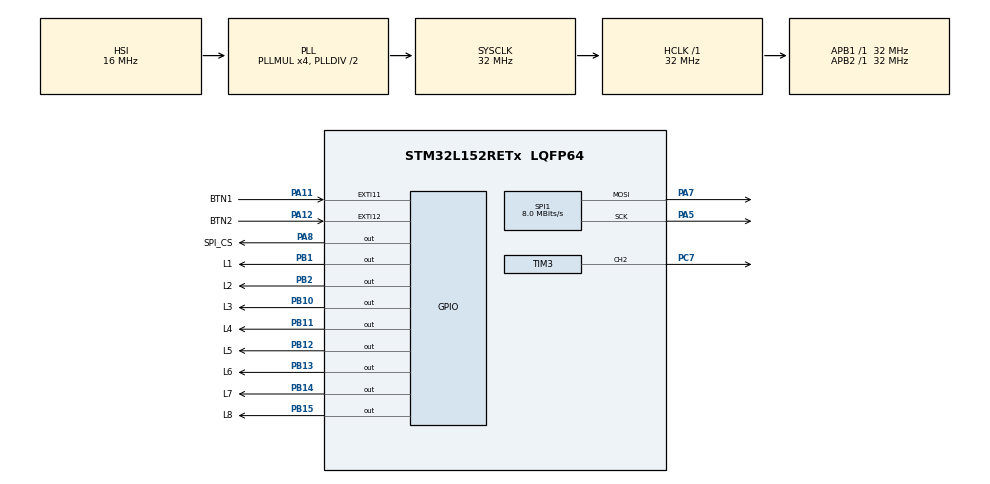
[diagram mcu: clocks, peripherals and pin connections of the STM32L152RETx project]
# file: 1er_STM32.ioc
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Mcu.Family=STM32L1
Mcu.Name=STM32L152RETx
Mcu.Package=LQFP64
NVIC.EXTI15_10_IRQn=true\:0\:0\:false\:false\:true\:true\:true\:true
NVIC.PriorityGroup=NVIC_PRIORITYGROUP_4
NVIC.TIM2_IRQn=true\:15\:0\:false\:false\:true\:true\:true\:true
NVIC.TIM4_IRQn=true\:0\:0\:false\:false\:true\:true\:true\:true
NVIC.TimeBase=TIM2_IRQn
NVIC.TimeBaseIP=TIM2
PA11.GPIO_Label=BTN1
PA11.GPIO_ModeDefaultEXTI=GPIO_MODE_IT_FALLING
PA11.Signal=GPXTI11
PA12.GPIO_Label=BTN2
PA12.GPIO_ModeDefaultEXTI=GPIO_MODE_IT_FALLING
PA12.Signal=GPXTI12
PA13.Mode=Trace_Asynchronous_SW
PA13.Signal=SYS_JTMS-SWDIO
PA14.Mode=Trace_Asynchronous_SW
PA14.Signal=SYS_JTCK-SWCLK
PA5.Mode=TX_Only_Simplex_Unidirect_Master
PA5.Signal=SPI1_SCK
PA7.Mode=TX_Only_Simplex_Unidirect_Master
PA7.Signal=SPI1_MOSI
PA8.GPIO_Label=SPI_CS
PA8.PinState=GPIO_PIN_SET
PA8.Signal=GPIO_Output
PB1.GPIO_Label=L1
PB1.Signal=GPIO_Output
PB10.GPIO_Label=L3
PB10.Signal=GPIO_Output
PB11.GPIO_Label=L4
PB11.Signal=GPIO_Output
PB12.GPIO_Label=L5
PB12.Signal=GPIO_Output
PB13.GPIO_Label=L6
PB13.Signal=GPIO_Output
PB14.GPIO_Label=L7
PB14.Signal=GPIO_Output
PB15.GPIO_Label=L8
PB15.Signal=GPIO_Output
PB2.GPIO_Label=L2
PB2.Signal=GPIO_Output
PB3.Mode=Trace_Asynchronous_SW
PB3.Signal=SYS_JTDO-TRACESWO
PC13-WKUP2.Mode=SYS_WakeUp1
PC13-WKUP2.Signal=SYS_WKUP2
PC7.Signal=S_TIM3_CH2
ProjectManager.HeapSize=0x200
ProjectManager.StackSize=0x400
ProjectManager.TargetToolchain=STM32CubeIDE
RCC.48MHZClocksFreq_Value=32000000
RCC.AHBFreq_Value=32000000
RCC.APB1Freq_Value=32000000
RCC.APB1TimFreq_Value=32000000
RCC.APB2Freq_Value=32000000
RCC.APB2TimFreq_Value=32000000
RCC.HCLKFreq_Value=32000000
RCC.HSE_VALUE=24000000
RCC.HSI_VALUE=16000000
RCC.LSE_VALUE=32768
RCC.MSI_VALUE=2097000
RCC.PLLMUL=RCC_PLL_MUL4
RCC.SYSCLKFreq_VALUE=32000000
RCC.SYSCLKSource=RCC_SYSCLKSOURCE_PLLCLK
RCC.VCOOutputFreq_Value=64000000
SH.S_TIM3_CH2.0=TIM3_CH2,PWM Generation2 CH2
SPI1.BaudRatePrescaler=SPI_BAUDRATEPRESCALER_4
SPI1.CLKPolarity=SPI_POLARITY_HIGH
SPI1.CalculateBaudRate=8.0 MBits/s
SPI1.Direction=SPI_DIRECTION_2LINES
SPI1.Mode=SPI_MODE_MASTER
SPI1.VirtualType=VM_MASTER
TIM3.Channel-PWM\ Generation2\ CH2=TIM_CHANNEL_2
TIM3.Pulse-PWM\ Generation2\ CH2=0
TIM4.Period=99
TIM4.Prescaler=31999
VP_SYS_VS_tim2.Mode=TIM2
VP_TIM4_VS_ClockSourceINT.Mode=Internal
VP_TIM4_VS_ClockSourceITR.Mode=TriggerSource_ITR0
board=custom

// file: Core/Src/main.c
/* USER CODE BEGIN Header */
/**
  ******************************************************************************
  * @file           : main.c
  * @brief          : Main program body
  ******************************************************************************
  * @attention
  *
  * Copyright (c) 2022 STMicroelectronics.
  * All rights reserved.
  *
  * This software is licensed under terms that can be found in the LICENSE file
  * in the root directory of this software component.
  * If no LICENSE file comes with this software, it is provided AS-IS.
  *
  ******************************************************************************
  */
/* USER CODE END Header */
#include "main.h"

/* USER CODE BEGIN Includes */
#include <stdio.h>
#include <stdlib.h>
/* USER CODE END Includes */

SPI_HandleTypeDef hspi1;

TIM_HandleTypeDef htim3;
TIM_HandleTypeDef htim4;

void SystemClock_Config(void);
static void MX_GPIO_Init(void);
static void MX_TIM3_Init(void);
static void MX_SPI1_Init(void);
static void MX_TIM4_Init(void);
/* USER CODE BEGIN PFP */
int _write(int file, char *ptr, int len);
/* USER CODE END PFP */

/* USER CODE BEGIN 0 */

int _write(int file, char *ptr, int len)
{
int DataIdx;
for (DataIdx = 0; DataIdx < len; DataIdx++)
{
//__io_putchar(*ptr++);
ITM_SendChar(*ptr++);
}
return len;
}

/* USER CODE END 0 */

int main(void)
{
  /* USER CODE BEGIN 1 */
	TypeDef_LED_Array array_1 = {
		(TypeDef_LED [8]){
			{L1_GPIO_Port, L1_Pin},
			{L2_GPIO_Port, L2_Pin},
			{L3_GPIO_Port, L3_Pin},
			{L4_GPIO_Port, L4_Pin},
			{L5_GPIO_Port, L5_Pin},
			{L6_GPIO_Port, L6_Pin},
			{L7_GPIO_Port, L7_Pin},
			{L8_GPIO_Port, L8_Pin}},
		8
	};

	MAX7219_Handle_TypeDef max7219_handle = {
			&hspi1,
			SPI_CS_GPIO_Port,
			SPI_CS_Pin,
			4,
	};

	TypeDef_Music_Handler music_handler;

	music_handler.htim = &htim3;

	TypeDef_Timer_Handler timer_handler;

	timer_handler.htim = &htim4;

	Pong_Handle_TypeDef pong_handler = {
			array_1,
			max7219_handle,
			music_handler,
			timer_handler
	};

	FSM_Handle_TypeDef fsm_handler;

  /* USER CODE END 1 */

  /* MCU Configuration--------------------------------------------------------*/

  /* Reset of all peripherals, Initializes the Flash interface and the Systick. */
  HAL_Init();

  /* Configure the system clock */
  SystemClock_Config();

  /* Initialize all configured peripherals */
  MX_GPIO_Init();
  MX_TIM3_Init();
  MX_SPI1_Init();
  MX_TIM4_Init();
  /* USER CODE BEGIN 2 */

  ///////////////////////////////////////////////////////	PONG

  pong_init(&pong_handler, &fsm_handler);

  ///////////////////////////////////////////////////////	MUSIC

  //init buzzer clock
  HAL_TIM_PWM_Start(&htim3, TIM_CHANNEL_2);

  /* USER CODE END 2 */

  /* Infinite loop */
  while (1)
  {

    /* USER CODE BEGIN 3 */

	pong_run();

  }
  /* USER CODE END 3 */
}

void SystemClock_Config(void)
{
  RCC_OscInitTypeDef RCC_OscInitStruct = {0};
  RCC_ClkInitTypeDef RCC_ClkInitStruct = {0};

  /** Configure the main internal regulator output voltage
  */
  __HAL_PWR_VOLTAGESCALING_CONFIG(PWR_REGULATOR_VOLTAGE_SCALE1);

  /** Initializes the RCC Oscillators according to the specified parameters
  * in the RCC_OscInitTypeDef structure.
  */
  RCC_OscInitStruct.OscillatorType = RCC_OSCILLATORTYPE_HSI;
  RCC_OscInitStruct.HSIState = RCC_HSI_ON;
  RCC_OscInitStruct.HSICalibrationValue = RCC_HSICALIBRATION_DEFAULT;
  RCC_OscInitStruct.PLL.PLLState = RCC_PLL_ON;
  RCC_OscInitStruct.PLL.PLLSource = RCC_PLLSOURCE_HSI;
  RCC_OscInitStruct.PLL.PLLMUL = RCC_PLL_MUL4;
  RCC_OscInitStruct.PLL.PLLDIV = RCC_PLL_DIV2;
  if (HAL_RCC_OscConfig(&RCC_OscInitStruct) != HAL_OK)
  {
    Error_Handler();
  }

  /** Initializes the CPU, AHB and APB buses clocks
  */
  RCC_ClkInitStruct.ClockType = RCC_CLOCKTYPE_HCLK|RCC_CLOCKTYPE_SYSCLK
                              |RCC_CLOCKTYPE_PCLK1|RCC_CLOCKTYPE_PCLK2;
  RCC_ClkInitStruct.SYSCLKSource = RCC_SYSCLKSOURCE_PLLCLK;
  RCC_ClkInitStruct.AHBCLKDivider = RCC_SYSCLK_DIV1;
  RCC_ClkInitStruct.APB1CLKDivider = RCC_HCLK_DIV1;
  RCC_ClkInitStruct.APB2CLKDivider = RCC_HCLK_DIV1;

  if (HAL_RCC_ClockConfig(&RCC_ClkInitStruct, FLASH_LATENCY_1) != HAL_OK)
  {
    Error_Handler();
  }
}

static void MX_SPI1_Init(void)
{

  /* SPI1 parameter configuration*/
  hspi1.Instance = SPI1;
  hspi1.Init.Mode = SPI_MODE_MASTER;
  hspi1.Init.Direction = SPI_DIRECTION_2LINES;
  hspi1.Init.DataSize = SPI_DATASIZE_8BIT;
  hspi1.Init.CLKPolarity = SPI_POLARITY_HIGH;
  hspi1.Init.CLKPhase = SPI_PHASE_1EDGE;
  hspi1.Init.NSS = SPI_NSS_SOFT;
  hspi1.Init.BaudRatePrescaler = SPI_BAUDRATEPRESCALER_4;
  hspi1.Init.FirstBit = SPI_FIRSTBIT_MSB;
  hspi1.Init.TIMode = SPI_TIMODE_DISABLE;
  hspi1.Init.CRCCalculation = SPI_CRCCALCULATION_DISABLE;
  hspi1.Init.CRCPolynomial = 10;
  if (HAL_SPI_Init(&hspi1) != HAL_OK)
  {
    Error_Handler();
  }

}

static void MX_TIM3_Init(void)
{

  TIM_MasterConfigTypeDef sMasterConfig = {0};
  TIM_OC_InitTypeDef sConfigOC = {0};

  htim3.Instance = TIM3;
  htim3.Init.Prescaler = 0;
  htim3.Init.CounterMode = TIM_COUNTERMODE_UP;
  htim3.Init.Period = 65535;
  htim3.Init.ClockDivision = TIM_CLOCKDIVISION_DIV1;
  htim3.Init.AutoReloadPreload = TIM_AUTORELOAD_PRELOAD_DISABLE;
  if (HAL_TIM_PWM_Init(&htim3) != HAL_OK)
  {
    Error_Handler();
  }
  sMasterConfig.MasterOutputTrigger = TIM_TRGO_RESET;
  sMasterConfig.MasterSlaveMode = TIM_MASTERSLAVEMODE_DISABLE;
  if (HAL_TIMEx_MasterConfigSynchronization(&htim3, &sMasterConfig) != HAL_OK)
  {
    Error_Handler();
  }
  sConfigOC.OCMode = TIM_OCMODE_PWM1;
  sConfigOC.Pulse = 0;
  sConfigOC.OCPolarity = TIM_OCPOLARITY_HIGH;
  sConfigOC.OCFastMode = TIM_OCFAST_DISABLE;
  if (HAL_TIM_PWM_ConfigChannel(&htim3, &sConfigOC, TIM_CHANNEL_2) != HAL_OK)
  {
    Error_Handler();
  }
  HAL_TIM_MspPostInit(&htim3);

}

static void MX_TIM4_Init(void)
{

  TIM_ClockConfigTypeDef sClockSourceConfig = {0};
  TIM_SlaveConfigTypeDef sSlaveConfig = {0};
  TIM_MasterConfigTypeDef sMasterConfig = {0};

  htim4.Instance = TIM4;
  htim4.Init.Prescaler = 31999;
  htim4.Init.CounterMode = TIM_COUNTERMODE_UP;
  htim4.Init.Period = 99;
  htim4.Init.ClockDivision = TIM_CLOCKDIVISION_DIV1;
  htim4.Init.AutoReloadPreload = TIM_AUTORELOAD_PRELOAD_DISABLE;
  if (HAL_TIM_Base_Init(&htim4) != HAL_OK)
  {
    Error_Handler();
  }
  sClockSourceConfig.ClockSource = TIM_CLOCKSOURCE_INTERNAL;
  if (HAL_TIM_ConfigClockSource(&htim4, &sClockSourceConfig) != HAL_OK)
  {
    Error_Handler();
  }
  sSlaveConfig.SlaveMode = TIM_SLAVEMODE_DISABLE;
  sSlaveConfig.InputTrigger = TIM_TS_ITR0;
  if (HAL_TIM_SlaveConfigSynchro(&htim4, &sSlaveConfig) != HAL_OK)
  {
    Error_Handler();
  }
  sMasterConfig.MasterOutputTrigger = TIM_TRGO_RESET;
  sMasterConfig.MasterSlaveMode = TIM_MASTERSLAVEMODE_DISABLE;
  if (HAL_TIMEx_MasterConfigSynchronization(&htim4, &sMasterConfig) != HAL_OK)
  {
    Error_Handler();
  }

}

static void MX_GPIO_Init(void)
{
  GPIO_InitTypeDef GPIO_InitStruct = {0};

  /* GPIO Ports Clock Enable */
  __HAL_RCC_GPIOC_CLK_ENABLE();
  __HAL_RCC_GPIOA_CLK_ENABLE();
  __HAL_RCC_GPIOB_CLK_ENABLE();

  /*Configure GPIO pin Output Level */
  HAL_GPIO_WritePin(GPIOB, L1_Pin|L2_Pin|L3_Pin|L4_Pin
                          |L5_Pin|L6_Pin|L7_Pin|L8_Pin, GPIO_PIN_RESET);

  /*Configure GPIO pin Output Level */
  HAL_GPIO_WritePin(SPI_CS_GPIO_Port, SPI_CS_Pin, GPIO_PIN_SET);

  /*Configure GPIO pins : L1_Pin L2_Pin L3_Pin L4_Pin
                           L5_Pin L6_Pin L7_Pin L8_Pin */
  GPIO_InitStruct.Pin = L1_Pin|L2_Pin|L3_Pin|L4_Pin
                          |L5_Pin|L6_Pin|L7_Pin|L8_Pin;
  GPIO_InitStruct.Mode = GPIO_MODE_OUTPUT_PP;
  GPIO_InitStruct.Pull = GPIO_NOPULL;
  GPIO_InitStruct.Speed = GPIO_SPEED_FREQ_LOW;
  HAL_GPIO_Init(GPIOB, &GPIO_InitStruct);

  /*Configure GPIO pin : SPI_CS_Pin */
  GPIO_InitStruct.Pin = SPI_CS_Pin;
  GPIO_InitStruct.Mode = GPIO_MODE_OUTPUT_PP;
  GPIO_InitStruct.Pull = GPIO_NOPULL;
  GPIO_InitStruct.Speed = GPIO_SPEED_FREQ_LOW;
  HAL_GPIO_Init(SPI_CS_GPIO_Port, &GPIO_InitStruct);

  /*Configure GPIO pins : BTN1_Pin BTN2_Pin */
  GPIO_InitStruct.Pin = BTN1_Pin|BTN2_Pin;
  GPIO_InitStruct.Mode = GPIO_MODE_IT_FALLING;
  GPIO_InitStruct.Pull = GPIO_NOPULL;
  HAL_GPIO_Init(GPIOA, &GPIO_InitStruct);

  /* EXTI interrupt init*/
  HAL_NVIC_SetPriority(EXTI15_10_IRQn, 0, 0);
  HAL_NVIC_EnableIRQ(EXTI15_10_IRQn);

}

void HAL_TIM_PeriodElapsedCallback(TIM_HandleTypeDef *htim)
{
  if (htim->Instance == TIM2) {
    HAL_IncTick();
  }
}

void Error_Handler(void)
{
  __disable_irq();
  while (1)
  {
  }
}
